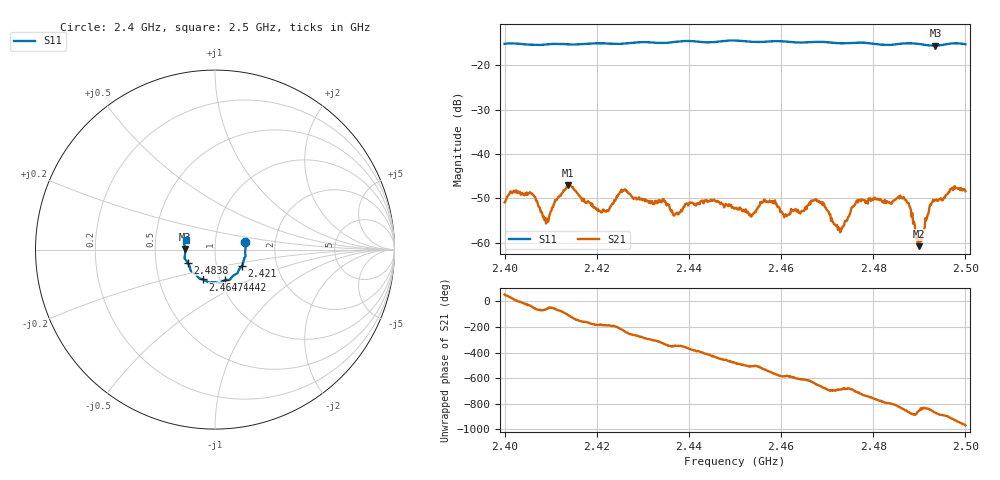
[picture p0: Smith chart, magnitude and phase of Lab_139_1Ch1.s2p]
# Hz S RI R 50
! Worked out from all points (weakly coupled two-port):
!   601 points, 2.4 GHz to 2.5 GHz, reference 50 ohm
!   highest |S21| = -47.06 dB at 2.4138 GHz (marker M1); lowest = -60.7 dB at 2.4898 GHz (marker M2)
!   lowest |S11| = -15.6 dB at 2.4935 GHz (marker M3), VSWR 1.40, Z = 35.8 + j0.18 ohm
!   |S11| at or under -10 dB: start of sweep to end of sweep
!   S12 and S22 are empty: the file has one direction only
!   S11 on the Smith chart (normalised r, x): 2.4 GHz: 1.40, +0.12; 2.421 GHz: 1.33, -0.24; 2.4442 GHz: 1.05, -0.37; 2.4647 GHz: 0.83, -0.29; 2.4838 GHz: 0.73, -0.11; 2.5 GHz: 0.72, +0.08
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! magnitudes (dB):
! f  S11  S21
! 2.4 GHz  -15.2  -50.9
! 2.4058 GHz  -15.4  -48.8
! 2.4092 GHz  -15.4  -54.6
! 2.4138 GHz  -15.4  -47.1
! 2.4167 GHz  -15.3  -49.9
! 2.421 GHz  -15.1  -53.2
! 2.4258 GHz  -15.2  -48.2
! 2.4333 GHz  -15.0  -50.4
! 2.4372 GHz  -14.8  -53.4
! 2.4442 GHz  -14.9  -50.6
! 2.45 GHz  -14.5  -52.2
! 2.4567 GHz  -14.7  -50.8
! 2.4647 GHz  -14.9  -52.9
! 2.4667 GHz  -14.8  -50.5
! 2.4728 GHz  -15.1  -57.6
! 2.4767 GHz  -15.0  -50.9
! 2.4833 GHz  -15.5  -50.9
! 2.4838 GHz  -15.5  -51.2
! 2.4872 GHz  -15.1  -50.4
! 2.4898 GHz  -15.2  -60.7
! 2.4935 GHz  -15.6  -50.4
! 2.5 GHz  -15.3  -48.4
